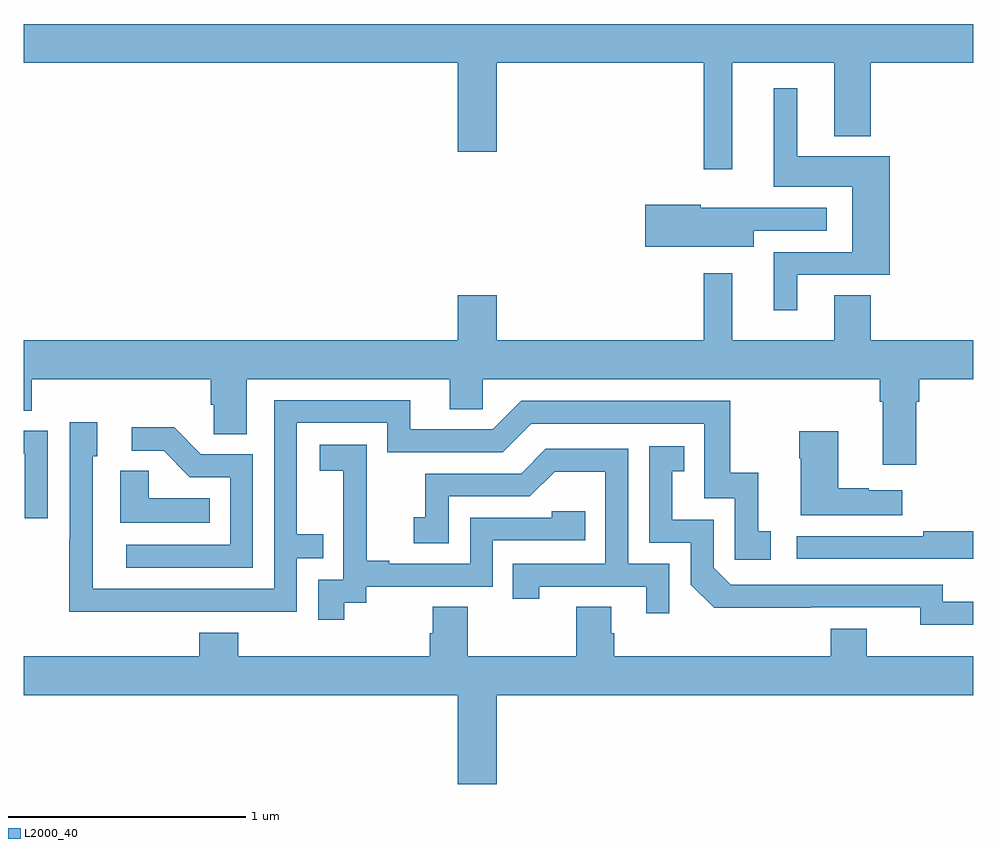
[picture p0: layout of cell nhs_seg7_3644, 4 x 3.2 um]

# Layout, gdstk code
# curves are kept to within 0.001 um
import gdstk
lib = gdstk.Library(unit=1e-6, precision=1e-09)
def P(c, l, *ps):  # polygons
    for p in ps: c.add(gdstk.Polygon(p, *l))
L2000_40 = (2000, 40)

nhs_seg7_3644 = lib.new_cell('nhs_seg7_3644')
P(nhs_seg7_3644, L2000_40, [(345.985,1047.236),(346.415,1047.236),(346.415,1046.927),(346.568,1046.927),(346.568,1047.236),(347,1047.236),(347,1047.4),(343,1047.4),(343,1047.236),(344.828,1047.236),(344.828,1046.862),(344.992,1046.862),(344.992,1047.236),(345.864,1047.236),(345.864,1046.787),(345.985,1046.787)],
  [(346.258,1046.343),(346.649,1046.343),(346.649,1046.842),(346.258,1046.842),(346.258,1047.13),(346.16,1047.13),(346.16,1046.714),(346.49,1046.714),(346.49,1046.439),(346.16,1046.439),(346.16,1046.193),(346.258,1046.193)],
  [(346.075,1046.529),(346.384,1046.529),(346.384,1046.625),(346.071,1046.625),(346.071,1046.626),(345.852,1046.626),(345.852,1046.639),(345.618,1046.639),(345.618,1046.461),(346.075,1046.461)],
  [(346.759,1045.808),(346.772,1045.808),(346.772,1045.904),(347,1045.904),(347,1046.068),(346.568,1046.068),(346.568,1046.258),(346.415,1046.258),(346.415,1046.068),(345.985,1046.068),(345.985,1046.35),(345.864,1046.35),(345.864,1046.068),(344.992,1046.068),(344.992,1046.257),(344.828,1046.257),(344.828,1046.068),(343,1046.068),(343,1045.771),(343.034,1045.771),(343.034,1045.904),(343.787,1045.904),(343.787,1045.795),(343.8,1045.795),(343.8,1045.672),(343.939,1045.672),(343.939,1045.904),(344.795,1045.904),(344.795,1045.777),(344.934,1045.777),(344.934,1045.904),(346.607,1045.904),(346.607,1045.808),(346.619,1045.808),(346.619,1045.542),(346.759,1045.542)],
  [(343.655,1044.924),(344.151,1044.924),(344.151,1045.149),(344.261,1045.149),(344.261,1045.25),(344.151,1045.25),(344.151,1045.719),(344.532,1045.719),(344.532,1045.596),(345.018,1045.596),(345.138,1045.716),(345.867,1045.716),(345.867,1045.401),(345.996,1045.401),(345.996,1045.143),(346.147,1045.143),(346.147,1045.263),(346.094,1045.263),(346.094,1045.51),(345.976,1045.51),(345.976,1045.812),(345.096,1045.812),(344.976,1045.692),(344.629,1045.692),(344.629,1045.815),(344.055,1045.815),(344.055,1045.02),(343.29,1045.02),(343.29,1045.578),(343.309,1045.578),(343.309,1045.723),(343.194,1045.723),(343.194,1045.229),(343.192,1045.229),(343.192,1044.923)],
  [(343.965,1045.587),(343.746,1045.587),(343.633,1045.7),(343.455,1045.7),(343.455,1045.602),(343.589,1045.602),(343.7,1045.491),(343.869,1045.491),(343.869,1045.206),(343.431,1045.206),(343.431,1045.11),(343.965,1045.11)],
  [(343.101,1045.686),(343,1045.686),(343,1045.59),(343.005,1045.59),(343.005,1045.317),(343.101,1045.317)],
  [(346.702,1045.435),(346.559,1045.435),(346.559,1045.445),(346.432,1045.445),(346.432,1045.684),(346.267,1045.684),(346.267,1045.571),(346.274,1045.571),(346.274,1045.331),(346.702,1045.331)],
  [(344.35,1044.961),(344.442,1044.961),(344.442,1045.029),(344.976,1045.029),(344.976,1045.224),(345.365,1045.224),(345.365,1045.347),(345.225,1045.347),(345.225,1045.32),(344.88,1045.32),(344.88,1045.125),(344.539,1045.125),(344.539,1045.138),(344.444,1045.138),(344.444,1045.421),(344.445,1045.421),(344.445,1045.627),(344.247,1045.627),(344.247,1045.517),(344.345,1045.517),(344.345,1045.289),(344.346,1045.289),(344.346,1045.059),(344.241,1045.059),(344.241,1044.891),(344.35,1044.891)],
  [(347,1044.966),(346.872,1044.966),(346.872,1045.038),(345.978,1045.038),(345.906,1045.11),(345.906,1045.311),(345.733,1045.311),(345.733,1045.515),(345.782,1045.515),(345.782,1045.621),(345.636,1045.621),(345.636,1045.215),(345.81,1045.215),(345.81,1045.038),(345.908,1044.941),(346.776,1044.942),(346.776,1044.869),(347,1044.869)],
  [(345.72,1045.125),(345.546,1045.125),(345.546,1045.611),(345.2,1045.611),(345.095,1045.506),(344.692,1045.506),(344.692,1045.321),(344.643,1045.321),(344.643,1045.212),(344.79,1045.212),(344.79,1045.41),(345.132,1045.41),(345.236,1045.514),(345.45,1045.514),(345.45,1045.125),(345.061,1045.125),(345.061,1044.978),(345.172,1044.978),(345.172,1045.029),(345.623,1045.029),(345.623,1044.918),(345.72,1044.918)],
  [(343.784,1045.402),(343.527,1045.402),(343.527,1045.517),(343.406,1045.517),(343.406,1045.298),(343.784,1045.298)],
  [(347,1045.262),(346.789,1045.262),(346.789,1045.242),(346.257,1045.242),(346.257,1045.146),(347,1045.146)],
  [(344.992,1044.572),(347,1044.572),(347,1044.736),(346.552,1044.736),(346.552,1044.853),(346.4,1044.853),(346.4,1044.736),(345.488,1044.736),(345.488,1044.834),(345.475,1044.834),(345.475,1044.944),(345.328,1044.944),(345.328,1044.736),(344.871,1044.736),(344.871,1044.944),(344.723,1044.944),(344.723,1044.834),(344.711,1044.834),(344.711,1044.736),(343.904,1044.736),(343.904,1044.835),(343.739,1044.835),(343.739,1044.736),(343,1044.736),(343,1044.572),(344.828,1044.572),(344.828,1044.198),(344.992,1044.198)])

lib.write_gds('nhs_seg7_3644.gds')
